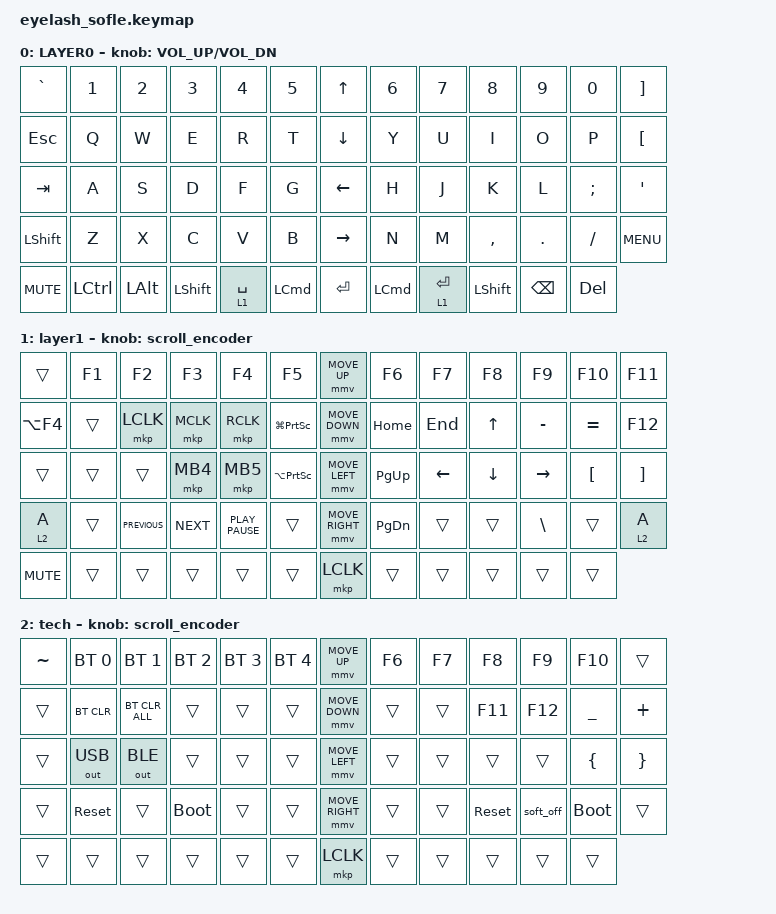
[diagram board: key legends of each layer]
#define ZMK_POINTING_DEFAULT_MOVE_VAL 1200  // 600
#define ZMK_POINTING_DEFAULT_SCRL_VAL 25   // 10

#include <input/processors.dtsi>
#include <zephyr/dt-bindings/input/input-event-codes.h>
#include <behaviors.dtsi>
#include <dt-bindings/zmk/bt.h>
#include <dt-bindings/zmk/keys.h>
#include <dt-bindings/zmk/outputs.h>
#include <dt-bindings/zmk/pointing.h>

&mmv_input_listener { input-processors = <&zip_xy_scaler 2 1>; };

&msc_input_listener { input-processors = <&zip_scroll_scaler 2 1>; };

&msc {
    acceleration-exponent = <1>;      // 0
    time-to-max-speed-ms = <100>;       // 300
    delay-ms = <0>;                   // 0
};

&mmv {
    time-to-max-speed-ms = <500>;
    acceleration-exponent = <1>;
    trigger-period-ms = <16>;
};

/ {
    scroll_encoder: scroll_encoder {
        compatible = "zmk,behavior-sensor-rotate";
        #sensor-binding-cells = <0>;
        bindings = <&msc SCRL_DOWN>, <&msc SCRL_UP>;

        tap-ms = <100>;
    };

    behaviors {
    };

    keymap {
        compatible = "zmk,keymap";

        layer0 {
            bindings = <
&kp GRAVE   &kp N1     &kp N2        &kp N3          &kp N4       &kp N5      &kp UP_ARROW     &kp N6    &kp N7       &kp N8      &kp N9         &kp N0      &kp RIGHT_BRACKET
&kp ESCAPE  &kp Q      &kp W         &kp E           &kp R        &kp T       &kp DOWN_ARROW   &kp Y     &kp U        &kp I       &kp O          &kp P       &kp LEFT_BRACKET
&kp TAB     &kp A      &kp S         &kp D           &kp F        &kp G       &kp LEFT_ARROW   &kp H     &kp J        &kp K       &kp L          &kp SEMI    &kp APOSTROPHE
&kp LSHFT   &kp Z      &kp X         &kp C           &kp V        &kp B       &kp RIGHT_ARROW  &kp N     &kp M        &kp COMMA   &kp DOT        &kp FSLH    &kp C_MENU
&kp C_MUTE  &kp LCTRL  &kp LEFT_ALT  &kp LEFT_SHIFT  &lt 1 SPACE  &kp LCMD    &kp ENTER        &kp LCMD  &lt 1 ENTER  &kp LSHIFT  &kp BACKSPACE  &kp DELETE
            >;

            sensor-bindings = <&inc_dec_kp C_VOLUME_UP C_VOL_DN>;
            display-name = "LAYER0";
        };

        navi {
            bindings = <
&trans      &kp F1  &kp F2          &kp F3      &kp F4            &kp F5                 &mmv MOVE_UP     &kp F6         &kp F7    &kp F8    &kp F9         &kp F10           &kp F11
&kp LA(F4)  &trans  &mkp LCLK       &mkp MCLK   &mkp RCLK         &kp LG(PRINTSCREEN)    &mmv MOVE_DOWN   &kp HOME       &kp END   &kp UP    &kp MINUS      &kp EQUAL         &kp F12
&trans      &trans  &trans          &mkp MB4    &mkp MB5          &kp LA(PRINTSCREEN)    &mmv MOVE_LEFT   &kp PG_UP      &kp LEFT  &kp DOWN  &kp RIGHT      &kp LEFT_BRACKET  &kp RIGHT_BRACKET
&lt 2 A     &trans  &kp K_PREVIOUS  &kp K_NEXT  &kp K_PLAY_PAUSE  &trans                 &mmv MOVE_RIGHT  &kp PAGE_DOWN  &trans    &trans    &kp BACKSLASH  &trans            &lt 2 A
&kp C_MUTE  &trans  &trans          &trans      &trans            &trans                 &mkp LCLK        &trans         &trans    &trans    &trans         &trans
            >;

            display-name = "layer1";
            sensor-bindings = <&scroll_encoder>;
        };

        tech {
            bindings = <
&kp TILDE  &bt BT_SEL 0  &bt BT_SEL 1    &bt BT_SEL 2  &bt BT_SEL 3  &bt BT_SEL 4    &mmv MOVE_UP     &kp F6  &kp F7  &kp F8      &kp F9     &kp F10      &trans
&trans     &bt BT_CLR    &bt BT_CLR_ALL  &trans        &trans        &trans          &mmv MOVE_DOWN   &trans  &trans  &kp F11     &kp F12    &kp UNDER    &kp PLUS
&trans     &out OUT_USB  &out OUT_BLE    &trans        &trans        &trans          &mmv MOVE_LEFT   &trans  &trans  &trans      &trans     &kp LBRC     &kp RBRC
&trans     &sys_reset    &trans          &bootloader   &trans        &trans          &mmv MOVE_RIGHT  &trans  &trans  &sys_reset  &soft_off  &bootloader  &trans
&trans     &trans        &trans          &trans        &trans        &trans          &mkp LCLK        &trans  &trans  &trans      &trans     &trans
            >;

            sensor-bindings = <&scroll_encoder>;
        };
    };
};
